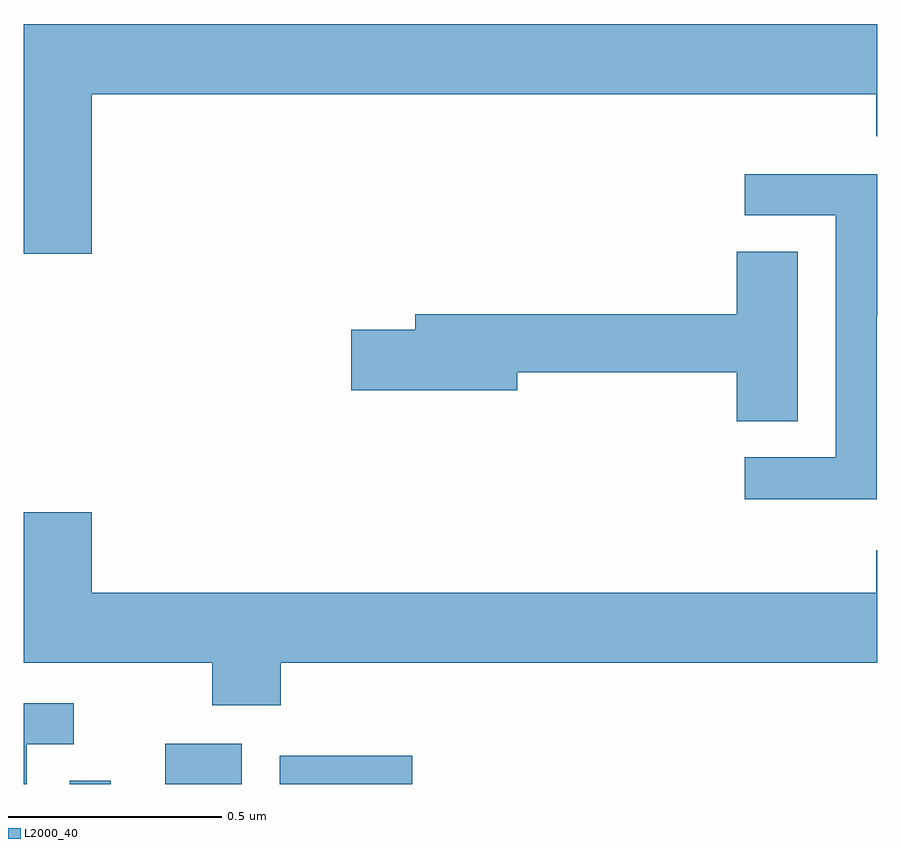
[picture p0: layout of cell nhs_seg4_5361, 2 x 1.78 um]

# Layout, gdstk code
import gdstk
lib = gdstk.Library(unit=1e-6, precision=1e-09)
def R(c, l, rs):  # rectangles x0, y0, x1, y1
    for r in rs: c.add(gdstk.rectangle(r[:2], r[2:], *l))
def P(c, l, *ps):  # polygons
    for p in ps: c.add(gdstk.Polygon(p, *l))
L2000_40 = (2000, 40)

nhs_seg4_5361 = lib.new_cell('nhs_seg4_5361')
R(nhs_seg4_5361, L2000_40, [(177.108,765.9,177.204,765.908), (177.332,765.9,177.511,765.994), (177.6,765.9,177.91,765.966)])
P(nhs_seg4_5361, L2000_40, [(177.16,767.516),(178.997,767.516),(178.997,767.417),(179,767.417),(179,767.68),(177,767.68),(177,767.142),(177.16,767.142)],
  [(178.998,766.996),(179,766.996),(179,767.328),(178.689,767.328),(178.689,767.232),(178.902,767.232),(178.902,766.665),(178.689,766.665),(178.689,766.567),(178.998,766.567)],
  [(178.813,767.147),(178.67,767.147),(178.67,767),(177.917,767),(177.917,766.964),(177.768,766.964),(177.768,766.822),(178.156,766.822),(178.156,766.864),(178.67,766.864),(178.67,766.75),(178.813,766.75)],
  [(177.602,766.184),(179,766.184),(179,766.447),(178.997,766.447),(178.997,766.348),(177.16,766.348),(177.16,766.537),(177,766.537),(177,766.184),(177.442,766.184),(177.442,766.085),(177.602,766.085)],
  [(177.007,765.993),(177.118,765.993),(177.118,766.089),(177,766.089),(177,765.9),(177.007,765.9)])

lib.write_gds('nhs_seg4_5361.gds')
